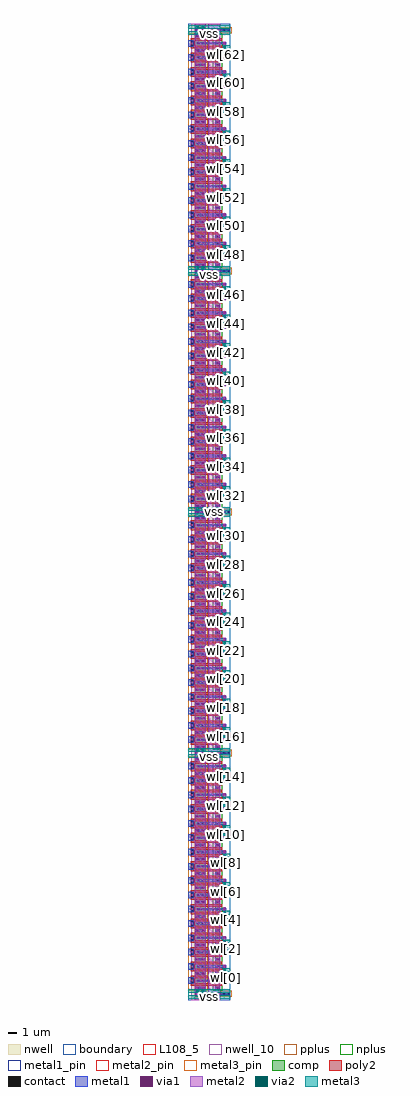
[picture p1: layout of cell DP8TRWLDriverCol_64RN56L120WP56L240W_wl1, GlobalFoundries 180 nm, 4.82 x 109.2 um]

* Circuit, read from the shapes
.subckt DP8TRWLDriverCol_64RN56L120WP56L240W_wl1 vdd vss wl[0] wl[10] wl[11] wl[12] wl[13] wl[14] wl[15] wl[16] wl[17] wl[18] wl[19] wl[1] wl[20] wl[21] wl[22] wl[23] wl[24] wl[25] wl[26] wl[27] wl[28] wl[29] wl[2] wl[30] wl[31] wl[32] wl[33] wl[34] wl[35] wl[36] wl[37] wl[38] wl[39] wl[3] wl[40] wl[41] wl[42] wl[43] wl[44] wl[45] wl[46] wl[47] wl[48] wl[49] wl[4] wl[50] wl[51] wl[52] wl[53] wl[54] wl[55] wl[56] wl[57] wl[58] wl[59] wl[5] wl[60] wl[61] wl[62] wl[63] wl[6] wl[7] wl[8] wl[9] wl_n[0] wl_n[10] wl_n[11] wl_n[12] wl_n[13] wl_n[14] wl_n[15] wl_n[16] wl_n[17] wl_n[18] wl_n[19] wl_n[1] wl_n[20] wl_n[21] wl_n[22] wl_n[23] wl_n[24] wl_n[25] wl_n[26] wl_n[27] wl_n[28] wl_n[29] wl_n[2] wl_n[30] wl_n[31] wl_n[32] wl_n[33] wl_n[34] wl_n[35] wl_n[36] wl_n[37] wl_n[38] wl_n[39] wl_n[3] wl_n[40] wl_n[41] wl_n[42] wl_n[43] wl_n[44] wl_n[45] wl_n[46] wl_n[47] wl_n[48] wl_n[49] wl_n[4] wl_n[50] wl_n[51] wl_n[52] wl_n[53] wl_n[54] wl_n[55] wl_n[56] wl_n[57] wl_n[58] wl_n[59] wl_n[5] wl_n[60] wl_n[61] wl_n[62] wl_n[63] wl_n[6] wl_n[7] wl_n[8] wl_n[9]
XM1 wl[0] wl_n[0] vss vss nfet_03v3 w=0.6u l=0.28u m=2
XM2 wl[1] wl_n[1] vss vss nfet_03v3 w=0.6u l=0.28u m=2
XM3 wl[2] wl_n[2] vss vss nfet_03v3 w=0.6u l=0.28u m=2
XM4 wl[3] wl_n[3] vss vss nfet_03v3 w=0.6u l=0.28u m=2
XM5 wl[4] wl_n[4] vss vss nfet_03v3 w=0.6u l=0.28u m=2
XM6 wl[5] wl_n[5] vss vss nfet_03v3 w=0.6u l=0.28u m=2
XM7 wl[6] wl_n[6] vss vss nfet_03v3 w=0.6u l=0.28u m=2
XM8 wl[7] wl_n[7] vss vss nfet_03v3 w=0.6u l=0.28u m=2
XM9 wl[8] wl_n[8] vss vss nfet_03v3 w=0.6u l=0.28u m=2
XM10 wl[9] wl_n[9] vss vss nfet_03v3 w=0.6u l=0.28u m=2
XM11 wl[10] wl_n[10] vss vss nfet_03v3 w=0.6u l=0.28u m=2
XM12 wl[11] wl_n[11] vss vss nfet_03v3 w=0.6u l=0.28u m=2
XM13 wl[12] wl_n[12] vss vss nfet_03v3 w=0.6u l=0.28u m=2
XM14 wl[13] wl_n[13] vss vss nfet_03v3 w=0.6u l=0.28u m=2
XM15 wl[14] wl_n[14] vss vss nfet_03v3 w=0.6u l=0.28u m=2
XM16 wl[15] wl_n[15] vss vss nfet_03v3 w=0.6u l=0.28u m=2
XM17 wl[16] wl_n[16] vss vss nfet_03v3 w=0.6u l=0.28u m=2
XM18 wl[17] wl_n[17] vss vss nfet_03v3 w=0.6u l=0.28u m=2
XM19 wl[18] wl_n[18] vss vss nfet_03v3 w=0.6u l=0.28u m=2
XM20 wl[19] wl_n[19] vss vss nfet_03v3 w=0.6u l=0.28u m=2
XM21 wl[20] wl_n[20] vss vss nfet_03v3 w=0.6u l=0.28u m=2
XM22 wl[21] wl_n[21] vss vss nfet_03v3 w=0.6u l=0.28u m=2
XM23 wl[22] wl_n[22] vss vss nfet_03v3 w=0.6u l=0.28u m=2
XM24 wl[23] wl_n[23] vss vss nfet_03v3 w=0.6u l=0.28u m=2
XM25 wl[24] wl_n[24] vss vss nfet_03v3 w=0.6u l=0.28u m=2
XM26 wl[25] wl_n[25] vss vss nfet_03v3 w=0.6u l=0.28u m=2
XM27 wl[26] wl_n[26] vss vss nfet_03v3 w=0.6u l=0.28u m=2
XM28 wl[27] wl_n[27] vss vss nfet_03v3 w=0.6u l=0.28u m=2
XM29 wl[28] wl_n[28] vss vss nfet_03v3 w=0.6u l=0.28u m=2
XM30 wl[29] wl_n[29] vss vss nfet_03v3 w=0.6u l=0.28u m=2
XM31 wl[30] wl_n[30] vss vss nfet_03v3 w=0.6u l=0.28u m=2
XM32 wl[31] wl_n[31] vss vss nfet_03v3 w=0.6u l=0.28u m=2
XM33 wl[32] wl_n[32] vss vss nfet_03v3 w=0.6u l=0.28u m=2
XM34 wl[33] wl_n[33] vss vss nfet_03v3 w=0.6u l=0.28u m=2
XM35 wl[34] wl_n[34] vss vss nfet_03v3 w=0.6u l=0.28u m=2
XM36 wl[35] wl_n[35] vss vss nfet_03v3 w=0.6u l=0.28u m=2
XM37 wl[36] wl_n[36] vss vss nfet_03v3 w=0.6u l=0.28u m=2
XM38 wl[37] wl_n[37] vss vss nfet_03v3 w=0.6u l=0.28u m=2
XM39 wl[38] wl_n[38] vss vss nfet_03v3 w=0.6u l=0.28u m=2
XM40 wl[39] wl_n[39] vss vss nfet_03v3 w=0.6u l=0.28u m=2
XM41 wl[40] wl_n[40] vss vss nfet_03v3 w=0.6u l=0.28u m=2
XM42 wl[41] wl_n[41] vss vss nfet_03v3 w=0.6u l=0.28u m=2
XM43 wl[42] wl_n[42] vss vss nfet_03v3 w=0.6u l=0.28u m=2
XM44 wl[43] wl_n[43] vss vss nfet_03v3 w=0.6u l=0.28u m=2
XM45 wl[44] wl_n[44] vss vss nfet_03v3 w=0.6u l=0.28u m=2
XM46 wl[45] wl_n[45] vss vss nfet_03v3 w=0.6u l=0.28u m=2
XM47 wl[46] wl_n[46] vss vss nfet_03v3 w=0.6u l=0.28u m=2
XM48 wl[47] wl_n[47] vss vss nfet_03v3 w=0.6u l=0.28u m=2
XM49 wl[48] wl_n[48] vss vss nfet_03v3 w=0.6u l=0.28u m=2
XM50 wl[49] wl_n[49] vss vss nfet_03v3 w=0.6u l=0.28u m=2
XM51 wl[50] wl_n[50] vss vss nfet_03v3 w=0.6u l=0.28u m=2
XM52 wl[51] wl_n[51] vss vss nfet_03v3 w=0.6u l=0.28u m=2
XM53 wl[52] wl_n[52] vss vss nfet_03v3 w=0.6u l=0.28u m=2
XM54 wl[53] wl_n[53] vss vss nfet_03v3 w=0.6u l=0.28u m=2
XM55 wl[54] wl_n[54] vss vss nfet_03v3 w=0.6u l=0.28u m=2
XM56 wl[55] wl_n[55] vss vss nfet_03v3 w=0.6u l=0.28u m=2
XM57 wl[56] wl_n[56] vss vss nfet_03v3 w=0.6u l=0.28u m=2
XM58 wl[57] wl_n[57] vss vss nfet_03v3 w=0.6u l=0.28u m=2
XM59 wl[58] wl_n[58] vss vss nfet_03v3 w=0.6u l=0.28u m=2
XM60 wl[59] wl_n[59] vss vss nfet_03v3 w=0.6u l=0.28u m=2
XM61 wl[60] wl_n[60] vss vss nfet_03v3 w=0.6u l=0.28u m=2
XM62 wl[61] wl_n[61] vss vss nfet_03v3 w=0.6u l=0.28u m=2
XM63 wl[62] wl_n[62] vss vss nfet_03v3 w=0.6u l=0.28u m=2
XM64 wl[63] wl_n[63] vss vss nfet_03v3 w=0.6u l=0.28u m=2
XM65 wl[0] wl_n[0] vdd vdd pfet_03v3 w=1.2u l=0.28u m=2
XM66 wl[1] wl_n[1] vdd vdd pfet_03v3 w=1.2u l=0.28u m=2
XM67 wl[2] wl_n[2] vdd vdd pfet_03v3 w=1.2u l=0.28u m=2
XM68 wl[3] wl_n[3] vdd vdd pfet_03v3 w=1.2u l=0.28u m=2
XM69 wl[4] wl_n[4] vdd vdd pfet_03v3 w=1.2u l=0.28u m=2
XM70 wl[5] wl_n[5] vdd vdd pfet_03v3 w=1.2u l=0.28u m=2
XM71 wl[6] wl_n[6] vdd vdd pfet_03v3 w=1.2u l=0.28u m=2
XM72 wl[7] wl_n[7] vdd vdd pfet_03v3 w=1.2u l=0.28u m=2
XM73 wl[8] wl_n[8] vdd vdd pfet_03v3 w=1.2u l=0.28u m=2
XM74 wl[9] wl_n[9] vdd vdd pfet_03v3 w=1.2u l=0.28u m=2
XM75 wl[10] wl_n[10] vdd vdd pfet_03v3 w=1.2u l=0.28u m=2
XM76 wl[11] wl_n[11] vdd vdd pfet_03v3 w=1.2u l=0.28u m=2
XM77 wl[12] wl_n[12] vdd vdd pfet_03v3 w=1.2u l=0.28u m=2
XM78 wl[13] wl_n[13] vdd vdd pfet_03v3 w=1.2u l=0.28u m=2
XM79 wl[14] wl_n[14] vdd vdd pfet_03v3 w=1.2u l=0.28u m=2
XM80 wl[15] wl_n[15] vdd vdd pfet_03v3 w=1.2u l=0.28u m=2
XM81 wl[16] wl_n[16] vdd vdd pfet_03v3 w=1.2u l=0.28u m=2
XM82 wl[17] wl_n[17] vdd vdd pfet_03v3 w=1.2u l=0.28u m=2
XM83 wl[18] wl_n[18] vdd vdd pfet_03v3 w=1.2u l=0.28u m=2
XM84 wl[19] wl_n[19] vdd vdd pfet_03v3 w=1.2u l=0.28u m=2
XM85 wl[20] wl_n[20] vdd vdd pfet_03v3 w=1.2u l=0.28u m=2
XM86 wl[21] wl_n[21] vdd vdd pfet_03v3 w=1.2u l=0.28u m=2
XM87 wl[22] wl_n[22] vdd vdd pfet_03v3 w=1.2u l=0.28u m=2
XM88 wl[23] wl_n[23] vdd vdd pfet_03v3 w=1.2u l=0.28u m=2
XM89 wl[24] wl_n[24] vdd vdd pfet_03v3 w=1.2u l=0.28u m=2
XM90 wl[25] wl_n[25] vdd vdd pfet_03v3 w=1.2u l=0.28u m=2
XM91 wl[26] wl_n[26] vdd vdd pfet_03v3 w=1.2u l=0.28u m=2
XM92 wl[27] wl_n[27] vdd vdd pfet_03v3 w=1.2u l=0.28u m=2
XM93 wl[28] wl_n[28] vdd vdd pfet_03v3 w=1.2u l=0.28u m=2
XM94 wl[29] wl_n[29] vdd vdd pfet_03v3 w=1.2u l=0.28u m=2
XM95 wl[30] wl_n[30] vdd vdd pfet_03v3 w=1.2u l=0.28u m=2
XM96 wl[31] wl_n[31] vdd vdd pfet_03v3 w=1.2u l=0.28u m=2
XM97 wl[32] wl_n[32] vdd vdd pfet_03v3 w=1.2u l=0.28u m=2
XM98 wl[33] wl_n[33] vdd vdd pfet_03v3 w=1.2u l=0.28u m=2
XM99 wl[34] wl_n[34] vdd vdd pfet_03v3 w=1.2u l=0.28u m=2
XM100 wl[35] wl_n[35] vdd vdd pfet_03v3 w=1.2u l=0.28u m=2
XM101 wl[36] wl_n[36] vdd vdd pfet_03v3 w=1.2u l=0.28u m=2
XM102 wl[37] wl_n[37] vdd vdd pfet_03v3 w=1.2u l=0.28u m=2
XM103 wl[38] wl_n[38] vdd vdd pfet_03v3 w=1.2u l=0.28u m=2
XM104 wl[39] wl_n[39] vdd vdd pfet_03v3 w=1.2u l=0.28u m=2
XM105 wl[40] wl_n[40] vdd vdd pfet_03v3 w=1.2u l=0.28u m=2
XM106 wl[41] wl_n[41] vdd vdd pfet_03v3 w=1.2u l=0.28u m=2
XM107 wl[42] wl_n[42] vdd vdd pfet_03v3 w=1.2u l=0.28u m=2
XM108 wl[43] wl_n[43] vdd vdd pfet_03v3 w=1.2u l=0.28u m=2
XM109 wl[44] wl_n[44] vdd vdd pfet_03v3 w=1.2u l=0.28u m=2
XM110 wl[45] wl_n[45] vdd vdd pfet_03v3 w=1.2u l=0.28u m=2
XM111 wl[46] wl_n[46] vdd vdd pfet_03v3 w=1.2u l=0.28u m=2
XM112 wl[47] wl_n[47] vdd vdd pfet_03v3 w=1.2u l=0.28u m=2
XM113 wl[48] wl_n[48] vdd vdd pfet_03v3 w=1.2u l=0.28u m=2
XM114 wl[49] wl_n[49] vdd vdd pfet_03v3 w=1.2u l=0.28u m=2
XM115 wl[50] wl_n[50] vdd vdd pfet_03v3 w=1.2u l=0.28u m=2
XM116 wl[51] wl_n[51] vdd vdd pfet_03v3 w=1.2u l=0.28u m=2
XM117 wl[52] wl_n[52] vdd vdd pfet_03v3 w=1.2u l=0.28u m=2
XM118 wl[53] wl_n[53] vdd vdd pfet_03v3 w=1.2u l=0.28u m=2
XM119 wl[54] wl_n[54] vdd vdd pfet_03v3 w=1.2u l=0.28u m=2
XM120 wl[55] wl_n[55] vdd vdd pfet_03v3 w=1.2u l=0.28u m=2
XM121 wl[56] wl_n[56] vdd vdd pfet_03v3 w=1.2u l=0.28u m=2
XM122 wl[57] wl_n[57] vdd vdd pfet_03v3 w=1.2u l=0.28u m=2
XM123 wl[58] wl_n[58] vdd vdd pfet_03v3 w=1.2u l=0.28u m=2
XM124 wl[59] wl_n[59] vdd vdd pfet_03v3 w=1.2u l=0.28u m=2
XM125 wl[60] wl_n[60] vdd vdd pfet_03v3 w=1.2u l=0.28u m=2
XM126 wl[61] wl_n[61] vdd vdd pfet_03v3 w=1.2u l=0.28u m=2
XM127 wl[62] wl_n[62] vdd vdd pfet_03v3 w=1.2u l=0.28u m=2
XM128 wl[63] wl_n[63] vdd vdd pfet_03v3 w=1.2u l=0.28u m=2
.ends

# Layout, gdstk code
import gdstk
lib = gdstk.Library(unit=1e-6, precision=1e-09)
def R(c, l, rs):  # rectangles x0, y0, x1, y1
    for r in rs: c.add(gdstk.rectangle(r[:2], r[2:], *l))
def A(c, l, x, y, w, h, nx, ny, dx, dy):  # array of equal rectangles
    R(c, l, [(x+i*dx, y+j*dy, x+i*dx+w, y+j*dy+h) for i in range(nx) for j in range(ny)])
def P(c, l, *ps):  # polygons
    for p in ps: c.add(gdstk.Polygon(p, *l))
boundary = (0, 0)
nwell = (21, 0)
nwell_10 = (21, 10)
comp = (22, 0)
poly2 = (30, 0)
pplus = (31, 0)
nplus = (32, 0)
contact = (33, 0)
metal1 = (34, 0)
metal1_pin = (34, 10)
via1 = (35, 0)
metal2 = (36, 0)
metal2_pin = (36, 10)
via2 = (38, 0)
metal3 = (42, 0)
metal3_pin = (42, 10)
L108_5 = (108, 5)

dp8trwldriverbc_n56l120w = lib.new_cell('DP8TRWLDriverBC_N56L120WP56L240W')
R(dp8trwldriverbc_n56l120w, boundary, [(-4.66,0,0,1.36)])
R(dp8trwldriverbc_n56l120w, nwell, [(-4.37,0,-2.31,1.36)])
R(dp8trwldriverbc_n56l120w, nwell_10, [(-4.37,0,-2.31,1.36)])
R(dp8trwldriverbc_n56l120w, comp, [(-3.77,0.5,-2.91,0.86), (-0.86,0.5,0,0.86)])
R(dp8trwldriverbc_n56l120w, pplus, [(-1.02,0.34,0.16,1.02)])
R(dp8trwldriverbc_n56l120w, nplus, [(-3.93,0.34,-2.75,1.02)])
R(dp8trwldriverbc_n56l120w, contact, [(-3.7,0.57,-3.48,0.79), (-3.2,0.57,-2.98,0.79), (-0.79,0.57,-0.57,0.79), (-0.29,0.57,-0.07,0.79)])
R(dp8trwldriverbc_n56l120w, metal1, [(-3.84,0.55,-2.84,0.81)])
P(dp8trwldriverbc_n56l120w, metal1, [(-2.275,0.55),(-2.275,0.81),(-1.275,0.81),(-1.275,0.795),(0,0.795),(0,0.565),(-1.275,0.565),(-1.275,0.55)])
R(dp8trwldriverbc_n56l120w, via1, [(-3.78,0.55,-3.52,0.81), (-3.16,0.55,-2.9,0.81), (-2.215,0.55,-1.955,0.81), (-1.595,0.55,-1.335,0.81)])
R(dp8trwldriverbc_n56l120w, metal2, [(-3.94,0,-2.74,1.36), (-2.46,0,-1.09,1.36)])
R(dp8trwldriverbc_n56l120w, metal2_pin, [(-3.94,0,-2.74,1.36), (-2.46,0,-1.09,1.36)])
R(dp8trwldriverbc_n56l120w, via2, [(-2.215,0.21,-1.955,0.47), (-1.595,0.21,-1.335,0.47), (-3.78,0.89,-3.52,1.15), (-3.16,0.89,-2.9,1.15)])
R(dp8trwldriverbc_n56l120w, metal3, [(-4.66,0.14,0,0.54), (-4.66,0.82,0,1.22)])
R(dp8trwldriverbc_n56l120w, metal3_pin, [(-4.66,0.14,0,0.54), (-4.66,0.82,0,1.22)])
R(dp8trwldriverbc_n56l120w, L108_5, [(-0.86,0.5,0,0.86)])
dp8trwldriverbc_n56l120w.add(gdstk.Label('vss', (-1.775,0.68), layer=36, texttype=10))
dp8trwldriverbc_n56l120w.add(gdstk.Label('vdd', (-3.34,0.68), layer=36, texttype=10))
dp8trwldriverbc_n56l120w.add(gdstk.Label('vss', (-2.33,0.34), layer=42, texttype=10))
dp8trwldriverbc_n56l120w.add(gdstk.Label('vdd', (-2.33,1.02), layer=42, texttype=10))
dp8trwldriverbc_n56l120w.add(gdstk.Label('vdd', (-3.34,0.68), layer=21, texttype=10))

dp8trwldriver_n56l120wp5 = lib.new_cell('DP8TRWLDriver_N56L120WP56L240W_wl1')
R(dp8trwldriver_n56l120wp5, boundary, [(-4.66,0,0,1.6)])
R(dp8trwldriver_n56l120wp5, nwell, [(-4.37,-0.61,-2.31,2.21)])
R(dp8trwldriver_n56l120wp5, nwell_10, [(-4.37,-0.61,-2.31,2.21)])
R(dp8trwldriver_n56l120wp5, comp, [(-3.94,-0.18,-2.74,1.78), (-3.94,-0.18,-2.74,1.78), (-1.69,-0.18,-1.09,1.78), (-1.69,-0.18,-1.09,1.78)])
P(dp8trwldriver_n56l120wp5, poly2, [(-4.4,0.26),(-4.4,1.34),(-0.87,1.34),(-0.87,1.06),(-4.04,1.06),(-4.04,0.54),(-0.87,0.54),(-0.87,0.26)])
R(dp8trwldriver_n56l120wp5, pplus, [(-4.66,-0.34,-2.51,1.94)])
R(dp8trwldriver_n56l120wp5, nplus, [(-1.92,-0.34,-0.86,1.94)])
A(dp8trwldriver_n56l120wp5, contact, -3.7, -0.11, 0.22, 0.22, 1, 3, 0, 0.8)
A(dp8trwldriver_n56l120wp5, contact, -3.2, -0.11, 0.22, 0.22, 1, 3, 0, 0.8)
A(dp8trwldriver_n56l120wp5, contact, -1.5, -0.11, 0.22, 0.22, 1, 3, 0, 0.8)
R(dp8trwldriver_n56l120wp5, contact, [(-4.33,0.44,-4.11,0.66), (-4.33,0.94,-4.11,1.16)])
R(dp8trwldriver_n56l120wp5, metal1, [(-3.94,-0.13,-2.74,0.13), (-1.69,-0.13,-1.09,0.13), (-4.66,0.435,-4.05,1.165), (-3.76,0.67,-0.43,0.93), (-3.94,1.47,-2.74,1.73), (-1.69,1.47,-1.09,1.73)])
R(dp8trwldriver_n56l120wp5, metal1_pin, [(-4.66,0.435,-4.05,1.165)])
R(dp8trwldriver_n56l120wp5, via1, [(-3.78,-0.13,-3.52,0.13), (-3.16,-0.13,-2.9,0.13), (-1.52,-0.13,-1.26,0.13), (-0.75,0.67,-0.49,0.93), (-3.78,1.47,-3.52,1.73), (-3.16,1.47,-2.9,1.73), (-1.52,1.47,-1.26,1.73)])
R(dp8trwldriver_n56l120wp5, metal2, [(-3.94,-0.14,-2.74,1.74), (-2.46,-0.14,-1.09,1.74), (-0.76,0.21,-0.48,0.99)])
R(dp8trwldriver_n56l120wp5, metal2_pin, [(-3.94,-0.14,-2.74,1.74), (-2.46,-0.14,-1.09,1.74)])
R(dp8trwldriver_n56l120wp5, via2, [(-0.75,0.27,-0.49,0.53)])
R(dp8trwldriver_n56l120wp5, metal3, [(-0.81,0.2,0,0.6)])
R(dp8trwldriver_n56l120wp5, metal3_pin, [(-0.81,0.2,0,0.6)])
dp8trwldriver_n56l120wp5.add(gdstk.Label('vss', (-1.775,0.8), layer=36, texttype=10))
dp8trwldriver_n56l120wp5.add(gdstk.Label('vdd', (-3.34,0.8), layer=36, texttype=10))
dp8trwldriver_n56l120wp5.add(gdstk.Label('wl_drive', (-0.405,0.4), layer=42, texttype=10))
dp8trwldriver_n56l120wp5.add(gdstk.Label('nwell', (-3.34,0.8), layer=21, texttype=10))
dp8trwldriver_n56l120wp5.add(gdstk.Label('wl_n', (-4.355,0.8), layer=34, texttype=10))

dp8trwldrivercol_64rn56l = lib.new_cell('DP8TRWLDriverCol_64RN56L120WP56L240W_wl1')
R(dp8trwldrivercol_64rn56l, boundary, [(0,0,4.66,109.2)])
A(dp8trwldrivercol_64rn56l, metal1, 0, 1.795, 0.61, 0.73, 1, 16, 0, 1.6)
A(dp8trwldrivercol_64rn56l, metal1, 0, 28.755, 0.61, 0.73, 1, 16, 0, 1.6)
A(dp8trwldrivercol_64rn56l, metal1, 0, 55.715, 0.61, 0.73, 1, 16, 0, 1.6)
A(dp8trwldrivercol_64rn56l, metal1, 0, 82.675, 0.61, 0.73, 1, 16, 0, 1.6)
A(dp8trwldrivercol_64rn56l, metal1_pin, 0, 1.795, 0.61, 0.73, 1, 16, 0, 1.6)
A(dp8trwldrivercol_64rn56l, metal1_pin, 0, 28.755, 0.61, 0.73, 1, 16, 0, 1.6)
A(dp8trwldrivercol_64rn56l, metal1_pin, 0, 55.715, 0.61, 0.73, 1, 16, 0, 1.6)
A(dp8trwldrivercol_64rn56l, metal1_pin, 0, 82.675, 0.61, 0.73, 1, 16, 0, 1.6)
R(dp8trwldrivercol_64rn56l, metal2, [(0.72,0,1.92,109.2), (2.2,0,3.57,109.2)])
R(dp8trwldrivercol_64rn56l, metal2_pin, [(0.72,0,1.92,109.2), (2.2,0,3.57,109.2)])
R(dp8trwldrivercol_64rn56l, metal3, [(0,0.14,4.66,0.54), (0,0.82,4.66,1.22), (3.85,2.36,4.66,2.76), (3.85,3.16,4.66,3.56), (3.85,5.56,4.66,5.96), (3.85,6.36,4.66,6.76), (3.85,8.76,4.66,9.16), (3.85,9.56,4.66,9.96), (3.85,11.96,4.66,12.36), (3.85,12.76,4.66,13.16), (3.85,15.16,4.66,15.56), (3.85,15.96,4.66,16.36), (3.85,18.36,4.66,18.76), (3.85,19.16,4.66,19.56), (3.85,21.56,4.66,21.96), (3.85,22.36,4.66,22.76), (3.85,24.76,4.66,25.16), (3.85,25.56,4.66,25.96), (0,27.1,4.66,27.5), (0,27.78,4.66,28.18), (3.85,29.32,4.66,29.72), (3.85,30.12,4.66,30.52), (3.85,32.52,4.66,32.92), (3.85,33.32,4.66,33.72), (3.85,35.72,4.66,36.12), (3.85,36.52,4.66,36.92), (3.85,38.92,4.66,39.32), (3.85,39.72,4.66,40.12), (3.85,42.12,4.66,42.52), (3.85,42.92,4.66,43.32), (3.85,45.32,4.66,45.72), (3.85,46.12,4.66,46.52), (3.85,48.52,4.66,48.92), (3.85,49.32,4.66,49.72), (3.85,51.72,4.66,52.12), (3.85,52.52,4.66,52.92), (0,54.06,4.66,54.46), (0,54.74,4.66,55.14), (3.85,56.28,4.66,56.68), (3.85,57.08,4.66,57.48), (3.85,59.48,4.66,59.88), (3.85,60.28,4.66,60.68), (3.85,62.68,4.66,63.08), (3.85,63.48,4.66,63.88), (3.85,65.88,4.66,66.28), (3.85,66.68,4.66,67.08), (3.85,69.08,4.66,69.48), (3.85,69.88,4.66,70.28), (3.85,72.28,4.66,72.68), (3.85,73.08,4.66,73.48), (3.85,75.48,4.66,75.88), (3.85,76.28,4.66,76.68), (3.85,78.68,4.66,79.08), (3.85,79.48,4.66,79.88), (0,81.02,4.66,81.42), (0,81.7,4.66,82.1), (3.85,83.24,4.66,83.64), (3.85,84.04,4.66,84.44), (3.85,86.44,4.66,86.84), (3.85,87.24,4.66,87.64), (3.85,89.64,4.66,90.04), (3.85,90.44,4.66,90.84), (3.85,92.84,4.66,93.24), (3.85,93.64,4.66,94.04), (3.85,96.04,4.66,96.44), (3.85,96.84,4.66,97.24), (3.85,99.24,4.66,99.64), (3.85,100.04,4.66,100.44), (3.85,102.44,4.66,102.84), (3.85,103.24,4.66,103.64), (3.85,105.64,4.66,106.04), (3.85,106.44,4.66,106.84), (0,107.98,4.66,108.38), (0,108.66,4.66,109.06)])
R(dp8trwldrivercol_64rn56l, metal3_pin, [(0,0.14,4.66,0.54), (0,0.82,4.66,1.22), (3.85,2.36,4.66,2.76), (3.85,3.16,4.66,3.56), (3.85,5.56,4.66,5.96), (3.85,6.36,4.66,6.76), (3.85,8.76,4.66,9.16), (3.85,9.56,4.66,9.96), (3.85,11.96,4.66,12.36), (3.85,12.76,4.66,13.16), (3.85,15.16,4.66,15.56), (3.85,15.96,4.66,16.36), (3.85,18.36,4.66,18.76), (3.85,19.16,4.66,19.56), (3.85,21.56,4.66,21.96), (3.85,22.36,4.66,22.76), (3.85,24.76,4.66,25.16), (3.85,25.56,4.66,25.96), (0,27.1,4.66,27.5), (0,27.78,4.66,28.18), (3.85,29.32,4.66,29.72), (3.85,30.12,4.66,30.52), (3.85,32.52,4.66,32.92), (3.85,33.32,4.66,33.72), (3.85,35.72,4.66,36.12), (3.85,36.52,4.66,36.92), (3.85,38.92,4.66,39.32), (3.85,39.72,4.66,40.12), (3.85,42.12,4.66,42.52), (3.85,42.92,4.66,43.32), (3.85,45.32,4.66,45.72), (3.85,46.12,4.66,46.52), (3.85,48.52,4.66,48.92), (3.85,49.32,4.66,49.72), (3.85,51.72,4.66,52.12), (3.85,52.52,4.66,52.92), (0,54.06,4.66,54.46), (0,54.74,4.66,55.14), (3.85,56.28,4.66,56.68), (3.85,57.08,4.66,57.48), (3.85,59.48,4.66,59.88), (3.85,60.28,4.66,60.68), (3.85,62.68,4.66,63.08), (3.85,63.48,4.66,63.88), (3.85,65.88,4.66,66.28), (3.85,66.68,4.66,67.08), (3.85,69.08,4.66,69.48), (3.85,69.88,4.66,70.28), (3.85,72.28,4.66,72.68), (3.85,73.08,4.66,73.48), (3.85,75.48,4.66,75.88), (3.85,76.28,4.66,76.68), (3.85,78.68,4.66,79.08), (3.85,79.48,4.66,79.88), (0,81.02,4.66,81.42), (0,81.7,4.66,82.1), (3.85,83.24,4.66,83.64), (3.85,84.04,4.66,84.44), (3.85,86.44,4.66,86.84), (3.85,87.24,4.66,87.64), (3.85,89.64,4.66,90.04), (3.85,90.44,4.66,90.84), (3.85,92.84,4.66,93.24), (3.85,93.64,4.66,94.04), (3.85,96.04,4.66,96.44), (3.85,96.84,4.66,97.24), (3.85,99.24,4.66,99.64), (3.85,100.04,4.66,100.44), (3.85,102.44,4.66,102.84), (3.85,103.24,4.66,103.64), (3.85,105.64,4.66,106.04), (3.85,106.44,4.66,106.84), (0,107.98,4.66,108.38), (0,108.66,4.66,109.06)])
dp8trwldrivercol_64rn56l.add(gdstk.Reference(dp8trwldriverbc_n56l120w, (4.66,0)))
dp8trwldrivercol_64rn56l.add(gdstk.Reference(dp8trwldriver_n56l120wp5, (4.66,2.96), x_reflection=True))
dp8trwldrivercol_64rn56l.add(gdstk.Reference(dp8trwldriver_n56l120wp5, (4.66,2.96)))
dp8trwldrivercol_64rn56l.add(gdstk.Reference(dp8trwldriver_n56l120wp5, (4.66,6.16), x_reflection=True))
dp8trwldrivercol_64rn56l.add(gdstk.Reference(dp8trwldriver_n56l120wp5, (4.66,6.16)))
dp8trwldrivercol_64rn56l.add(gdstk.Reference(dp8trwldriver_n56l120wp5, (4.66,9.36), x_reflection=True))
dp8trwldrivercol_64rn56l.add(gdstk.Reference(dp8trwldriver_n56l120wp5, (4.66,9.36)))
dp8trwldrivercol_64rn56l.add(gdstk.Reference(dp8trwldriver_n56l120wp5, (4.66,12.56), x_reflection=True))
dp8trwldrivercol_64rn56l.add(gdstk.Reference(dp8trwldriver_n56l120wp5, (4.66,12.56)))
dp8trwldrivercol_64rn56l.add(gdstk.Reference(dp8trwldriver_n56l120wp5, (4.66,15.76), x_reflection=True))
dp8trwldrivercol_64rn56l.add(gdstk.Reference(dp8trwldriver_n56l120wp5, (4.66,15.76)))
dp8trwldrivercol_64rn56l.add(gdstk.Reference(dp8trwldriver_n56l120wp5, (4.66,18.96), x_reflection=True))
dp8trwldrivercol_64rn56l.add(gdstk.Reference(dp8trwldriver_n56l120wp5, (4.66,18.96)))
dp8trwldrivercol_64rn56l.add(gdstk.Reference(dp8trwldriver_n56l120wp5, (4.66,22.16), x_reflection=True))
dp8trwldrivercol_64rn56l.add(gdstk.Reference(dp8trwldriver_n56l120wp5, (4.66,22.16)))
dp8trwldrivercol_64rn56l.add(gdstk.Reference(dp8trwldriver_n56l120wp5, (4.66,25.36), x_reflection=True))
dp8trwldrivercol_64rn56l.add(gdstk.Reference(dp8trwldriver_n56l120wp5, (4.66,25.36)))
dp8trwldrivercol_64rn56l.add(gdstk.Reference(dp8trwldriverbc_n56l120w, (4.66,26.96)))
dp8trwldrivercol_64rn56l.add(gdstk.Reference(dp8trwldriver_n56l120wp5, (4.66,29.92), x_reflection=True))
dp8trwldrivercol_64rn56l.add(gdstk.Reference(dp8trwldriver_n56l120wp5, (4.66,29.92)))
dp8trwldrivercol_64rn56l.add(gdstk.Reference(dp8trwldriver_n56l120wp5, (4.66,33.12), x_reflection=True))
dp8trwldrivercol_64rn56l.add(gdstk.Reference(dp8trwldriver_n56l120wp5, (4.66,33.12)))
dp8trwldrivercol_64rn56l.add(gdstk.Reference(dp8trwldriver_n56l120wp5, (4.66,36.32), x_reflection=True))
dp8trwldrivercol_64rn56l.add(gdstk.Reference(dp8trwldriver_n56l120wp5, (4.66,36.32)))
dp8trwldrivercol_64rn56l.add(gdstk.Reference(dp8trwldriver_n56l120wp5, (4.66,39.52), x_reflection=True))
dp8trwldrivercol_64rn56l.add(gdstk.Reference(dp8trwldriver_n56l120wp5, (4.66,39.52)))
dp8trwldrivercol_64rn56l.add(gdstk.Reference(dp8trwldriver_n56l120wp5, (4.66,42.72), x_reflection=True))
dp8trwldrivercol_64rn56l.add(gdstk.Reference(dp8trwldriver_n56l120wp5, (4.66,42.72)))
dp8trwldrivercol_64rn56l.add(gdstk.Reference(dp8trwldriver_n56l120wp5, (4.66,45.92), x_reflection=True))
dp8trwldrivercol_64rn56l.add(gdstk.Reference(dp8trwldriver_n56l120wp5, (4.66,45.92)))
dp8trwldrivercol_64rn56l.add(gdstk.Reference(dp8trwldriver_n56l120wp5, (4.66,49.12), x_reflection=True))
dp8trwldrivercol_64rn56l.add(gdstk.Reference(dp8trwldriver_n56l120wp5, (4.66,49.12)))
dp8trwldrivercol_64rn56l.add(gdstk.Reference(dp8trwldriver_n56l120wp5, (4.66,52.32), x_reflection=True))
dp8trwldrivercol_64rn56l.add(gdstk.Reference(dp8trwldriver_n56l120wp5, (4.66,52.32)))
dp8trwldrivercol_64rn56l.add(gdstk.Reference(dp8trwldriverbc_n56l120w, (4.66,53.92)))
dp8trwldrivercol_64rn56l.add(gdstk.Reference(dp8trwldriver_n56l120wp5, (4.66,56.88), x_reflection=True))
dp8trwldrivercol_64rn56l.add(gdstk.Reference(dp8trwldriver_n56l120wp5, (4.66,56.88)))
dp8trwldrivercol_64rn56l.add(gdstk.Reference(dp8trwldriver_n56l120wp5, (4.66,60.08), x_reflection=True))
dp8trwldrivercol_64rn56l.add(gdstk.Reference(dp8trwldriver_n56l120wp5, (4.66,60.08)))
dp8trwldrivercol_64rn56l.add(gdstk.Reference(dp8trwldriver_n56l120wp5, (4.66,63.28), x_reflection=True))
dp8trwldrivercol_64rn56l.add(gdstk.Reference(dp8trwldriver_n56l120wp5, (4.66,63.28)))
dp8trwldrivercol_64rn56l.add(gdstk.Reference(dp8trwldriver_n56l120wp5, (4.66,66.48), x_reflection=True))
dp8trwldrivercol_64rn56l.add(gdstk.Reference(dp8trwldriver_n56l120wp5, (4.66,66.48)))
dp8trwldrivercol_64rn56l.add(gdstk.Reference(dp8trwldriver_n56l120wp5, (4.66,69.68), x_reflection=True))
dp8trwldrivercol_64rn56l.add(gdstk.Reference(dp8trwldriver_n56l120wp5, (4.66,69.68)))
dp8trwldrivercol_64rn56l.add(gdstk.Reference(dp8trwldriver_n56l120wp5, (4.66,72.88), x_reflection=True))
dp8trwldrivercol_64rn56l.add(gdstk.Reference(dp8trwldriver_n56l120wp5, (4.66,72.88)))
dp8trwldrivercol_64rn56l.add(gdstk.Reference(dp8trwldriver_n56l120wp5, (4.66,76.08), x_reflection=True))
dp8trwldrivercol_64rn56l.add(gdstk.Reference(dp8trwldriver_n56l120wp5, (4.66,76.08)))
dp8trwldrivercol_64rn56l.add(gdstk.Reference(dp8trwldriver_n56l120wp5, (4.66,79.28), x_reflection=True))
dp8trwldrivercol_64rn56l.add(gdstk.Reference(dp8trwldriver_n56l120wp5, (4.66,79.28)))
dp8trwldrivercol_64rn56l.add(gdstk.Reference(dp8trwldriverbc_n56l120w, (4.66,80.88)))
dp8trwldrivercol_64rn56l.add(gdstk.Reference(dp8trwldriver_n56l120wp5, (4.66,83.84), x_reflection=True))
dp8trwldrivercol_64rn56l.add(gdstk.Reference(dp8trwldriver_n56l120wp5, (4.66,83.84)))
dp8trwldrivercol_64rn56l.add(gdstk.Reference(dp8trwldriver_n56l120wp5, (4.66,87.04), x_reflection=True))
dp8trwldrivercol_64rn56l.add(gdstk.Reference(dp8trwldriver_n56l120wp5, (4.66,87.04)))
dp8trwldrivercol_64rn56l.add(gdstk.Reference(dp8trwldriver_n56l120wp5, (4.66,90.24), x_reflection=True))
dp8trwldrivercol_64rn56l.add(gdstk.Reference(dp8trwldriver_n56l120wp5, (4.66,90.24)))
dp8trwldrivercol_64rn56l.add(gdstk.Reference(dp8trwldriver_n56l120wp5, (4.66,93.44), x_reflection=True))
dp8trwldrivercol_64rn56l.add(gdstk.Reference(dp8trwldriver_n56l120wp5, (4.66,93.44)))
dp8trwldrivercol_64rn56l.add(gdstk.Reference(dp8trwldriver_n56l120wp5, (4.66,96.64), x_reflection=True))
dp8trwldrivercol_64rn56l.add(gdstk.Reference(dp8trwldriver_n56l120wp5, (4.66,96.64)))
dp8trwldrivercol_64rn56l.add(gdstk.Reference(dp8trwldriver_n56l120wp5, (4.66,99.84), x_reflection=True))
dp8trwldrivercol_64rn56l.add(gdstk.Reference(dp8trwldriver_n56l120wp5, (4.66,99.84)))
dp8trwldrivercol_64rn56l.add(gdstk.Reference(dp8trwldriver_n56l120wp5, (4.66,103.04), x_reflection=True))
dp8trwldrivercol_64rn56l.add(gdstk.Reference(dp8trwldriver_n56l120wp5, (4.66,103.04)))
dp8trwldrivercol_64rn56l.add(gdstk.Reference(dp8trwldriver_n56l120wp5, (4.66,106.24), x_reflection=True))
dp8trwldrivercol_64rn56l.add(gdstk.Reference(dp8trwldriver_n56l120wp5, (4.66,106.24)))
dp8trwldrivercol_64rn56l.add(gdstk.Reference(dp8trwldriverbc_n56l120w, (4.66,107.84)))
dp8trwldrivercol_64rn56l.add(gdstk.Label('vss', (2.885,54.6), layer=36, texttype=10))
dp8trwldrivercol_64rn56l.add(gdstk.Label('vdd', (1.32,54.6), layer=36, texttype=10))
dp8trwldrivercol_64rn56l.add(gdstk.Label('vss', (2.33,0.34), layer=42, texttype=10))
dp8trwldrivercol_64rn56l.add(gdstk.Label('vss', (2.33,81.22), layer=42, texttype=10))
dp8trwldrivercol_64rn56l.add(gdstk.Label('vss', (2.33,54.26), layer=42, texttype=10))
dp8trwldrivercol_64rn56l.add(gdstk.Label('vss', (2.33,27.3), layer=42, texttype=10))
dp8trwldrivercol_64rn56l.add(gdstk.Label('vss', (2.33,108.18), layer=42, texttype=10))
dp8trwldrivercol_64rn56l.add(gdstk.Label('vdd', (2.33,1.02), layer=42, texttype=10))
dp8trwldrivercol_64rn56l.add(gdstk.Label('vdd', (2.33,108.86), layer=42, texttype=10))
dp8trwldrivercol_64rn56l.add(gdstk.Label('vdd', (2.33,81.9), layer=42, texttype=10))
dp8trwldrivercol_64rn56l.add(gdstk.Label('vdd', (2.33,54.94), layer=42, texttype=10))
dp8trwldrivercol_64rn56l.add(gdstk.Label('vdd', (2.33,27.98), layer=42, texttype=10))
dp8trwldrivercol_64rn56l.add(gdstk.Label('wl[0]', (4.255,2.56), layer=42, texttype=10))
dp8trwldrivercol_64rn56l.add(gdstk.Label('wl[1]', (4.255,3.36), layer=42, texttype=10))
dp8trwldrivercol_64rn56l.add(gdstk.Label('wl[2]', (4.255,5.76), layer=42, texttype=10))
dp8trwldrivercol_64rn56l.add(gdstk.Label('wl[3]', (4.255,6.56), layer=42, texttype=10))
dp8trwldrivercol_64rn56l.add(gdstk.Label('wl[4]', (4.255,8.96), layer=42, texttype=10))
dp8trwldrivercol_64rn56l.add(gdstk.Label('wl[5]', (4.255,9.76), layer=42, texttype=10))
dp8trwldrivercol_64rn56l.add(gdstk.Label('wl[6]', (4.255,12.16), layer=42, texttype=10))
dp8trwldrivercol_64rn56l.add(gdstk.Label('wl[7]', (4.255,12.96), layer=42, texttype=10))
dp8trwldrivercol_64rn56l.add(gdstk.Label('wl[8]', (4.255,15.36), layer=42, texttype=10))
dp8trwldrivercol_64rn56l.add(gdstk.Label('wl[9]', (4.255,16.16), layer=42, texttype=10))
dp8trwldrivercol_64rn56l.add(gdstk.Label('wl[10]', (4.255,18.56), layer=42, texttype=10))
dp8trwldrivercol_64rn56l.add(gdstk.Label('wl[11]', (4.255,19.36), layer=42, texttype=10))
dp8trwldrivercol_64rn56l.add(gdstk.Label('wl[12]', (4.255,21.76), layer=42, texttype=10))
dp8trwldrivercol_64rn56l.add(gdstk.Label('wl[13]', (4.255,22.56), layer=42, texttype=10))
dp8trwldrivercol_64rn56l.add(gdstk.Label('wl[14]', (4.255,24.96), layer=42, texttype=10))
dp8trwldrivercol_64rn56l.add(gdstk.Label('wl[15]', (4.255,25.76), layer=42, texttype=10))
dp8trwldrivercol_64rn56l.add(gdstk.Label('wl[16]', (4.255,29.52), layer=42, texttype=10))
dp8trwldrivercol_64rn56l.add(gdstk.Label('wl[17]', (4.255,30.32), layer=42, texttype=10))
dp8trwldrivercol_64rn56l.add(gdstk.Label('wl[18]', (4.255,32.72), layer=42, texttype=10))
dp8trwldrivercol_64rn56l.add(gdstk.Label('wl[19]', (4.255,33.52), layer=42, texttype=10))
dp8trwldrivercol_64rn56l.add(gdstk.Label('wl[20]', (4.255,35.92), layer=42, texttype=10))
dp8trwldrivercol_64rn56l.add(gdstk.Label('wl[21]', (4.255,36.72), layer=42, texttype=10))
dp8trwldrivercol_64rn56l.add(gdstk.Label('wl[22]', (4.255,39.12), layer=42, texttype=10))
dp8trwldrivercol_64rn56l.add(gdstk.Label('wl[23]', (4.255,39.92), layer=42, texttype=10))
dp8trwldrivercol_64rn56l.add(gdstk.Label('wl[24]', (4.255,42.32), layer=42, texttype=10))
dp8trwldrivercol_64rn56l.add(gdstk.Label('wl[25]', (4.255,43.12), layer=42, texttype=10))
dp8trwldrivercol_64rn56l.add(gdstk.Label('wl[26]', (4.255,45.52), layer=42, texttype=10))
dp8trwldrivercol_64rn56l.add(gdstk.Label('wl[27]', (4.255,46.32), layer=42, texttype=10))
dp8trwldrivercol_64rn56l.add(gdstk.Label('wl[28]', (4.255,48.72), layer=42, texttype=10))
dp8trwldrivercol_64rn56l.add(gdstk.Label('wl[29]', (4.255,49.52), layer=42, texttype=10))
dp8trwldrivercol_64rn56l.add(gdstk.Label('wl[30]', (4.255,51.92), layer=42, texttype=10))
dp8trwldrivercol_64rn56l.add(gdstk.Label('wl[31]', (4.255,52.72), layer=42, texttype=10))
dp8trwldrivercol_64rn56l.add(gdstk.Label('wl[32]', (4.255,56.48), layer=42, texttype=10))
dp8trwldrivercol_64rn56l.add(gdstk.Label('wl[33]', (4.255,57.28), layer=42, texttype=10))
dp8trwldrivercol_64rn56l.add(gdstk.Label('wl[34]', (4.255,59.68), layer=42, texttype=10))
dp8trwldrivercol_64rn56l.add(gdstk.Label('wl[35]', (4.255,60.48), layer=42, texttype=10))
dp8trwldrivercol_64rn56l.add(gdstk.Label('wl[36]', (4.255,62.88), layer=42, texttype=10))
dp8trwldrivercol_64rn56l.add(gdstk.Label('wl[37]', (4.255,63.68), layer=42, texttype=10))
dp8trwldrivercol_64rn56l.add(gdstk.Label('wl[38]', (4.255,66.08), layer=42, texttype=10))
dp8trwldrivercol_64rn56l.add(gdstk.Label('wl[39]', (4.255,66.88), layer=42, texttype=10))
dp8trwldrivercol_64rn56l.add(gdstk.Label('wl[40]', (4.255,69.28), layer=42, texttype=10))
dp8trwldrivercol_64rn56l.add(gdstk.Label('wl[41]', (4.255,70.08), layer=42, texttype=10))
dp8trwldrivercol_64rn56l.add(gdstk.Label('wl[42]', (4.255,72.48), layer=42, texttype=10))
dp8trwldrivercol_64rn56l.add(gdstk.Label('wl[43]', (4.255,73.28), layer=42, texttype=10))
dp8trwldrivercol_64rn56l.add(gdstk.Label('wl[44]', (4.255,75.68), layer=42, texttype=10))
dp8trwldrivercol_64rn56l.add(gdstk.Label('wl[45]', (4.255,76.48), layer=42, texttype=10))
dp8trwldrivercol_64rn56l.add(gdstk.Label('wl[46]', (4.255,78.88), layer=42, texttype=10))
dp8trwldrivercol_64rn56l.add(gdstk.Label('wl[47]', (4.255,79.68), layer=42, texttype=10))
dp8trwldrivercol_64rn56l.add(gdstk.Label('wl[48]', (4.255,83.44), layer=42, texttype=10))
dp8trwldrivercol_64rn56l.add(gdstk.Label('wl[49]', (4.255,84.24), layer=42, texttype=10))
dp8trwldrivercol_64rn56l.add(gdstk.Label('wl[50]', (4.255,86.64), layer=42, texttype=10))
dp8trwldrivercol_64rn56l.add(gdstk.Label('wl[51]', (4.255,87.44), layer=42, texttype=10))
dp8trwldrivercol_64rn56l.add(gdstk.Label('wl[52]', (4.255,89.84), layer=42, texttype=10))
dp8trwldrivercol_64rn56l.add(gdstk.Label('wl[53]', (4.255,90.64), layer=42, texttype=10))
dp8trwldrivercol_64rn56l.add(gdstk.Label('wl[54]', (4.255,93.04), layer=42, texttype=10))
dp8trwldrivercol_64rn56l.add(gdstk.Label('wl[55]', (4.255,93.84), layer=42, texttype=10))
dp8trwldrivercol_64rn56l.add(gdstk.Label('wl[56]', (4.255,96.24), layer=42, texttype=10))
dp8trwldrivercol_64rn56l.add(gdstk.Label('wl[57]', (4.255,97.04), layer=42, texttype=10))
dp8trwldrivercol_64rn56l.add(gdstk.Label('wl[58]', (4.255,99.44), layer=42, texttype=10))
dp8trwldrivercol_64rn56l.add(gdstk.Label('wl[59]', (4.255,100.24), layer=42, texttype=10))
dp8trwldrivercol_64rn56l.add(gdstk.Label('wl[60]', (4.255,102.64), layer=42, texttype=10))
dp8trwldrivercol_64rn56l.add(gdstk.Label('wl[61]', (4.255,103.44), layer=42, texttype=10))
dp8trwldrivercol_64rn56l.add(gdstk.Label('wl[62]', (4.255,105.84), layer=42, texttype=10))
dp8trwldrivercol_64rn56l.add(gdstk.Label('wl[63]', (4.255,106.64), layer=42, texttype=10))
dp8trwldrivercol_64rn56l.add(gdstk.Label('wl_n[0]', (0.305,2.16), layer=34, texttype=10))
dp8trwldrivercol_64rn56l.add(gdstk.Label('wl_n[1]', (0.305,3.76), layer=34, texttype=10))
dp8trwldrivercol_64rn56l.add(gdstk.Label('wl_n[2]', (0.305,5.36), layer=34, texttype=10))
dp8trwldrivercol_64rn56l.add(gdstk.Label('wl_n[3]', (0.305,6.96), layer=34, texttype=10))
dp8trwldrivercol_64rn56l.add(gdstk.Label('wl_n[4]', (0.305,8.56), layer=34, texttype=10))
dp8trwldrivercol_64rn56l.add(gdstk.Label('wl_n[5]', (0.305,10.16), layer=34, texttype=10))
dp8trwldrivercol_64rn56l.add(gdstk.Label('wl_n[6]', (0.305,11.76), layer=34, texttype=10))
dp8trwldrivercol_64rn56l.add(gdstk.Label('wl_n[7]', (0.305,13.36), layer=34, texttype=10))
dp8trwldrivercol_64rn56l.add(gdstk.Label('wl_n[8]', (0.305,14.96), layer=34, texttype=10))
dp8trwldrivercol_64rn56l.add(gdstk.Label('wl_n[9]', (0.305,16.56), layer=34, texttype=10))
dp8trwldrivercol_64rn56l.add(gdstk.Label('wl_n[10]', (0.305,18.16), layer=34, texttype=10))
dp8trwldrivercol_64rn56l.add(gdstk.Label('wl_n[11]', (0.305,19.76), layer=34, texttype=10))
dp8trwldrivercol_64rn56l.add(gdstk.Label('wl_n[12]', (0.305,21.36), layer=34, texttype=10))
dp8trwldrivercol_64rn56l.add(gdstk.Label('wl_n[13]', (0.305,22.96), layer=34, texttype=10))
dp8trwldrivercol_64rn56l.add(gdstk.Label('wl_n[14]', (0.305,24.56), layer=34, texttype=10))
dp8trwldrivercol_64rn56l.add(gdstk.Label('wl_n[15]', (0.305,26.16), layer=34, texttype=10))
dp8trwldrivercol_64rn56l.add(gdstk.Label('wl_n[16]', (0.305,29.12), layer=34, texttype=10))
dp8trwldrivercol_64rn56l.add(gdstk.Label('wl_n[17]', (0.305,30.72), layer=34, texttype=10))
dp8trwldrivercol_64rn56l.add(gdstk.Label('wl_n[18]', (0.305,32.32), layer=34, texttype=10))
dp8trwldrivercol_64rn56l.add(gdstk.Label('wl_n[19]', (0.305,33.92), layer=34, texttype=10))
dp8trwldrivercol_64rn56l.add(gdstk.Label('wl_n[20]', (0.305,35.52), layer=34, texttype=10))
dp8trwldrivercol_64rn56l.add(gdstk.Label('wl_n[21]', (0.305,37.12), layer=34, texttype=10))
dp8trwldrivercol_64rn56l.add(gdstk.Label('wl_n[22]', (0.305,38.72), layer=34, texttype=10))
dp8trwldrivercol_64rn56l.add(gdstk.Label('wl_n[23]', (0.305,40.32), layer=34, texttype=10))
dp8trwldrivercol_64rn56l.add(gdstk.Label('wl_n[24]', (0.305,41.92), layer=34, texttype=10))
dp8trwldrivercol_64rn56l.add(gdstk.Label('wl_n[25]', (0.305,43.52), layer=34, texttype=10))
dp8trwldrivercol_64rn56l.add(gdstk.Label('wl_n[26]', (0.305,45.12), layer=34, texttype=10))
dp8trwldrivercol_64rn56l.add(gdstk.Label('wl_n[27]', (0.305,46.72), layer=34, texttype=10))
dp8trwldrivercol_64rn56l.add(gdstk.Label('wl_n[28]', (0.305,48.32), layer=34, texttype=10))
dp8trwldrivercol_64rn56l.add(gdstk.Label('wl_n[29]', (0.305,49.92), layer=34, texttype=10))
dp8trwldrivercol_64rn56l.add(gdstk.Label('wl_n[30]', (0.305,51.52), layer=34, texttype=10))
dp8trwldrivercol_64rn56l.add(gdstk.Label('wl_n[31]', (0.305,53.12), layer=34, texttype=10))
dp8trwldrivercol_64rn56l.add(gdstk.Label('wl_n[32]', (0.305,56.08), layer=34, texttype=10))
dp8trwldrivercol_64rn56l.add(gdstk.Label('wl_n[33]', (0.305,57.68), layer=34, texttype=10))
dp8trwldrivercol_64rn56l.add(gdstk.Label('wl_n[34]', (0.305,59.28), layer=34, texttype=10))
dp8trwldrivercol_64rn56l.add(gdstk.Label('wl_n[35]', (0.305,60.88), layer=34, texttype=10))
dp8trwldrivercol_64rn56l.add(gdstk.Label('wl_n[36]', (0.305,62.48), layer=34, texttype=10))
dp8trwldrivercol_64rn56l.add(gdstk.Label('wl_n[37]', (0.305,64.08), layer=34, texttype=10))
dp8trwldrivercol_64rn56l.add(gdstk.Label('wl_n[38]', (0.305,65.68), layer=34, texttype=10))
dp8trwldrivercol_64rn56l.add(gdstk.Label('wl_n[39]', (0.305,67.28), layer=34, texttype=10))
dp8trwldrivercol_64rn56l.add(gdstk.Label('wl_n[40]', (0.305,68.88), layer=34, texttype=10))
dp8trwldrivercol_64rn56l.add(gdstk.Label('wl_n[41]', (0.305,70.48), layer=34, texttype=10))
dp8trwldrivercol_64rn56l.add(gdstk.Label('wl_n[42]', (0.305,72.08), layer=34, texttype=10))
dp8trwldrivercol_64rn56l.add(gdstk.Label('wl_n[43]', (0.305,73.68), layer=34, texttype=10))
dp8trwldrivercol_64rn56l.add(gdstk.Label('wl_n[44]', (0.305,75.28), layer=34, texttype=10))
dp8trwldrivercol_64rn56l.add(gdstk.Label('wl_n[45]', (0.305,76.88), layer=34, texttype=10))
dp8trwldrivercol_64rn56l.add(gdstk.Label('wl_n[46]', (0.305,78.48), layer=34, texttype=10))
dp8trwldrivercol_64rn56l.add(gdstk.Label('wl_n[47]', (0.305,80.08), layer=34, texttype=10))
dp8trwldrivercol_64rn56l.add(gdstk.Label('wl_n[48]', (0.305,83.04), layer=34, texttype=10))
dp8trwldrivercol_64rn56l.add(gdstk.Label('wl_n[49]', (0.305,84.64), layer=34, texttype=10))
dp8trwldrivercol_64rn56l.add(gdstk.Label('wl_n[50]', (0.305,86.24), layer=34, texttype=10))
dp8trwldrivercol_64rn56l.add(gdstk.Label('wl_n[51]', (0.305,87.84), layer=34, texttype=10))
dp8trwldrivercol_64rn56l.add(gdstk.Label('wl_n[52]', (0.305,89.44), layer=34, texttype=10))
dp8trwldrivercol_64rn56l.add(gdstk.Label('wl_n[53]', (0.305,91.04), layer=34, texttype=10))
dp8trwldrivercol_64rn56l.add(gdstk.Label('wl_n[54]', (0.305,92.64), layer=34, texttype=10))
dp8trwldrivercol_64rn56l.add(gdstk.Label('wl_n[55]', (0.305,94.24), layer=34, texttype=10))
dp8trwldrivercol_64rn56l.add(gdstk.Label('wl_n[56]', (0.305,95.84), layer=34, texttype=10))
dp8trwldrivercol_64rn56l.add(gdstk.Label('wl_n[57]', (0.305,97.44), layer=34, texttype=10))
dp8trwldrivercol_64rn56l.add(gdstk.Label('wl_n[58]', (0.305,99.04), layer=34, texttype=10))
dp8trwldrivercol_64rn56l.add(gdstk.Label('wl_n[59]', (0.305,100.64), layer=34, texttype=10))
dp8trwldrivercol_64rn56l.add(gdstk.Label('wl_n[60]', (0.305,102.24), layer=34, texttype=10))
dp8trwldrivercol_64rn56l.add(gdstk.Label('wl_n[61]', (0.305,103.84), layer=34, texttype=10))
dp8trwldrivercol_64rn56l.add(gdstk.Label('wl_n[62]', (0.305,105.44), layer=34, texttype=10))
dp8trwldrivercol_64rn56l.add(gdstk.Label('wl_n[63]', (0.305,107.04), layer=34, texttype=10))

lib.write_gds('DP8TRWLDriverCol_64RN56L120WP56L240W_wl1.gds')
